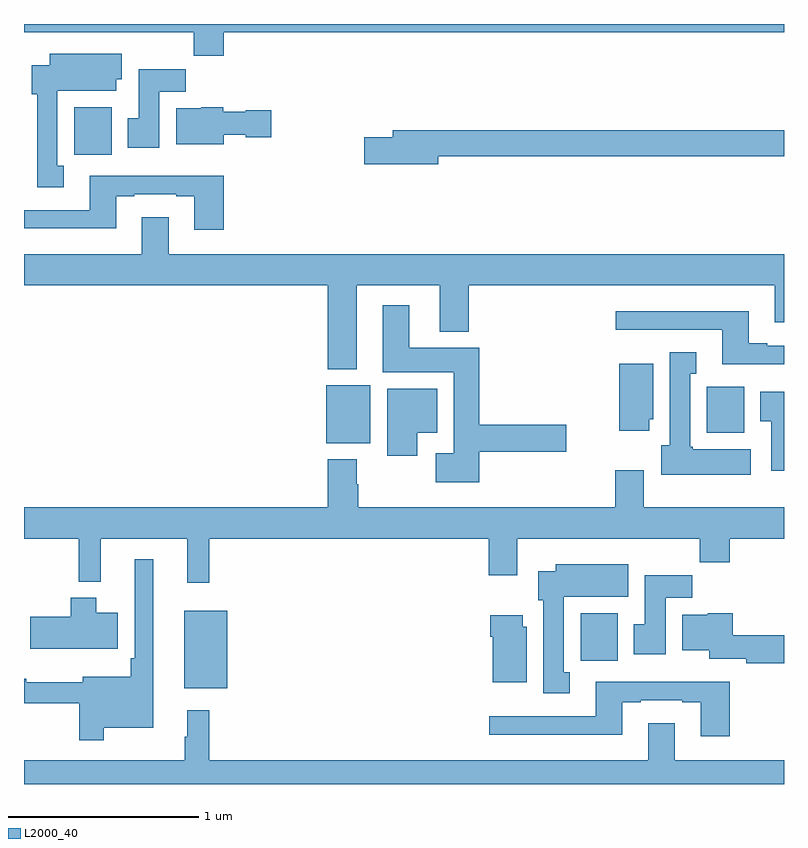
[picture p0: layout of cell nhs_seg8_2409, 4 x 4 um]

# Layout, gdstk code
import gdstk
lib = gdstk.Library(unit=1e-6, precision=1e-09)
def R(c, l, rs):  # rectangles x0, y0, x1, y1
    for r in rs: c.add(gdstk.rectangle(r[:2], r[2:], *l))
def P(c, l, *ps):  # polygons
    for p in ps: c.add(gdstk.Polygon(p, *l))
L2000_40 = (2000, 40)

nhs_seg8_2409 = lib.new_cell('nhs_seg8_2409')
R(nhs_seg8_2409, L2000_40, [(263.843,1090.403,264.07,1090.813), (265.929,1090.548,266.125,1090.798), (264.59,1091.693,264.823,1091.998), (266.594,1091.75,266.791,1091.992), (263.265,1093.212,263.461,1093.462)])
P(nhs_seg8_2409, L2000_40, [(264.05,1093.856),(267,1093.856),(267,1093.9),(263,1093.9),(263,1093.856),(263.893,1093.856),(263.893,1093.732),(264.05,1093.732)],
  [(263.209,1093.153),(263.176,1093.153),(263.176,1093.55),(263.485,1093.55),(263.485,1093.61),(263.515,1093.61),(263.515,1093.744),(263.135,1093.744),(263.135,1093.684),(263.042,1093.684),(263.042,1093.53),(263.069,1093.53),(263.069,1093.041),(263.209,1093.041)],
  [(263.713,1093.544),(263.852,1093.544),(263.852,1093.662),(263.603,1093.662),(263.603,1093.404),(263.546,1093.404),(263.546,1093.248),(263.713,1093.248)],
  [(264.052,1093.316),(264.168,1093.316),(264.168,1093.304),(264.301,1093.304),(264.301,1093.446),(264.168,1093.446),(264.168,1093.438),(264.048,1093.438),(264.048,1093.462),(263.934,1093.462),(263.934,1093.456),(263.801,1093.456),(263.801,1093.268),(264.052,1093.268)],
  [(265.18,1093.204),(267,1093.204),(267,1093.34),(264.941,1093.34),(264.941,1093.304),(264.792,1093.304),(264.792,1093.162),(265.18,1093.162)],
  [(264.05,1093.102),(263.345,1093.102),(263.345,1092.921),(263,1092.921),(263,1092.824),(263.485,1092.824),(263.485,1092.993),(263.581,1092.993),(263.581,1093.005),(263.801,1093.005),(263.801,1092.993),(263.897,1092.993),(263.897,1092.816),(264.05,1092.816)],
  [(264.751,1092.524),(265.187,1092.524),(265.187,1092.281),(265.34,1092.281),(265.34,1092.524),(266.951,1092.524),(266.951,1092.33),(267,1092.33),(267,1092.688),(263.761,1092.688),(263.761,1092.883),(263.621,1092.883),(263.621,1092.688),(263,1092.688),(263,1092.524),(264.599,1092.524),(264.599,1092.083),(264.751,1092.083)],
  [(265.397,1091.65),(265.855,1091.65),(265.855,1091.792),(265.397,1091.792),(265.397,1092.196),(265.027,1092.196),(265.027,1092.421),(264.887,1092.421),(264.887,1092.068),(265.262,1092.068),(265.262,1091.641),(265.167,1091.641),(265.167,1091.489),(265.397,1091.489)],
  [(267,1092.207),(266.911,1092.207),(266.911,1092.22),(266.815,1092.22),(266.815,1092.388),(266.115,1092.388),(266.115,1092.291),(266.675,1092.291),(266.675,1092.11),(267,1092.11)],
  [(266.824,1091.662),(266.52,1091.662),(266.52,1091.676),(266.506,1091.676),(266.506,1092.059),(266.539,1092.059),(266.539,1092.172),(266.399,1092.172),(266.399,1091.682),(266.354,1091.682),(266.354,1091.528),(266.824,1091.528)],
  [(266.29,1091.82),(266.311,1091.82),(266.311,1092.112),(266.132,1092.112),(266.132,1091.76),(266.29,1091.76)],
  [(265.069,1091.75),(265.174,1091.75),(265.174,1091.98),(264.911,1091.98),(264.911,1091.628),(265.069,1091.628)],
  [(267,1091.965),(266.876,1091.965),(266.876,1091.809),(266.933,1091.809),(266.933,1091.55),(267,1091.55)],
  [(263.975,1091.192),(265.445,1091.192),(265.445,1090.998),(265.597,1090.998),(265.597,1091.192),(266.557,1091.192),(266.557,1091.068),(266.714,1091.068),(266.714,1091.192),(267,1091.192),(267,1091.356),(266.263,1091.356),(266.263,1091.551),(266.111,1091.551),(266.111,1091.356),(264.759,1091.356),(264.759,1091.477),(264.751,1091.477),(264.751,1091.608),(264.599,1091.608),(264.599,1091.356),(263,1091.356),(263,1091.192),(263.287,1091.192),(263.287,1090.964),(263.405,1090.964),(263.405,1091.192),(263.858,1091.192),(263.858,1090.959),(263.975,1090.959)],
  [(263.419,1090.196),(263.68,1090.196),(263.68,1091.083),(263.583,1091.083),(263.583,1090.561),(263.563,1090.561),(263.563,1090.465),(263.309,1090.465),(263.309,1090.435),(263.013,1090.435),(263.013,1090.454),(263,1090.454),(263,1090.326),(263.29,1090.326),(263.29,1090.131),(263.419,1090.131)],
  [(265.873,1090.489),(265.84,1090.489),(265.84,1090.886),(266.179,1090.886),(266.179,1091.056),(265.799,1091.056),(265.799,1091.02),(265.706,1091.02),(265.706,1090.866),(265.733,1090.866),(265.733,1090.377),(265.873,1090.377)],
  [(266.377,1090.88),(266.516,1090.88),(266.516,1090.998),(266.267,1090.998),(266.267,1090.74),(266.21,1090.74),(266.21,1090.584),(266.377,1090.584)],
  [(263.494,1090.801),(263.38,1090.801),(263.38,1090.879),(263.246,1090.879),(263.246,1090.779),(263.034,1090.779),(263.034,1090.613),(263.494,1090.613)],
  [(267,1090.682),(266.729,1090.682),(266.729,1090.798),(266.598,1090.798),(266.598,1090.792),(266.465,1090.792),(266.465,1090.604),(266.606,1090.604),(266.606,1090.559),(266.802,1090.559),(266.802,1090.535),(267,1090.535)],
  [(265.645,1090.728),(265.624,1090.728),(265.624,1090.789),(265.454,1090.789),(265.454,1090.676),(265.466,1090.676),(265.466,1090.436),(265.645,1090.436)],
  [(266.714,1090.438),(266.009,1090.438),(266.009,1090.257),(265.449,1090.257),(265.449,1090.16),(266.149,1090.16),(266.149,1090.329),(266.245,1090.329),(266.245,1090.341),(266.465,1090.341),(266.465,1090.329),(266.561,1090.329),(266.561,1090.152),(266.714,1090.152)],
  [(267,1090.024),(266.425,1090.024),(266.425,1090.219),(266.285,1090.219),(266.285,1090.024),(263.975,1090.024),(263.975,1090.288),(263.858,1090.288),(263.858,1090.148),(263.847,1090.148),(263.847,1090.024),(263,1090.024),(263,1089.9),(267,1089.9)])

lib.write_gds('nhs_seg8_2409.gds')
